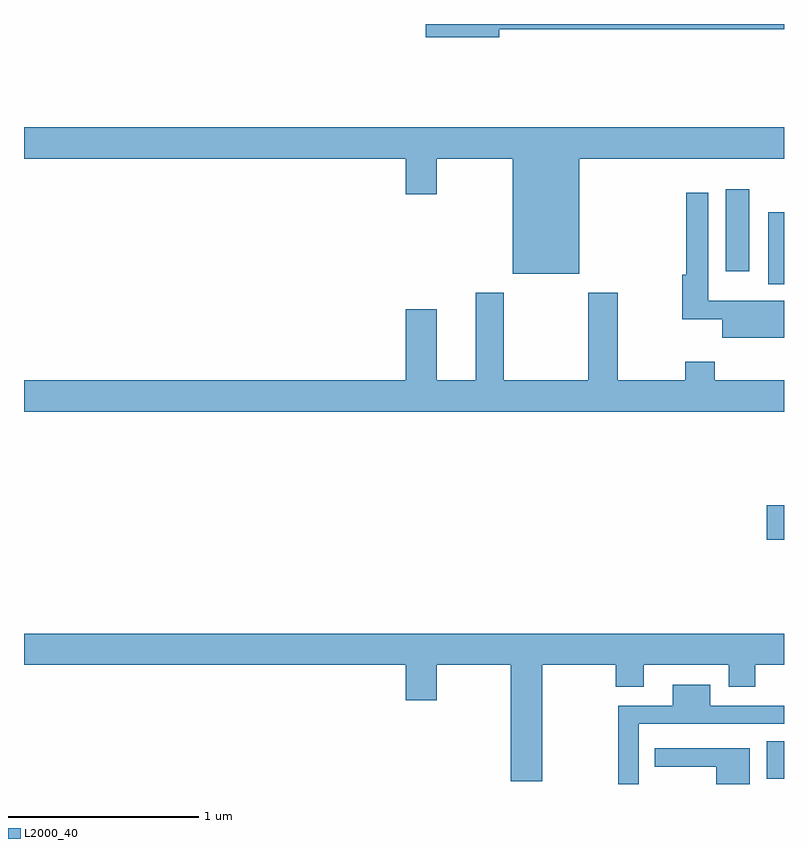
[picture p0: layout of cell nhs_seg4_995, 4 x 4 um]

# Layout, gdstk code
import gdstk
lib = gdstk.Library(unit=1e-6, precision=1e-09)
def R(c, l, rs):  # rectangles x0, y0, x1, y1
    for r in rs: c.add(gdstk.rectangle(r[:2], r[2:], *l))
def P(c, l, *ps):  # polygons
    for p in ps: c.add(gdstk.Polygon(p, *l))
L2000_40 = (2000, 40)

nhs_seg4_995 = lib.new_cell('nhs_seg4_995')
R(nhs_seg4_995, L2000_40, [(166.91,754.928,167,755.125), (166.908,756.185,167,756.368), (166.916,757.529,167,757.909), (166.694,757.599,166.816,758.029)])
P(nhs_seg4_995, L2000_40, [(165.502,758.872),(167,758.872),(167,758.9),(165.114,758.9),(165.114,758.83),(165.502,758.83)],
  [(165.922,758.192),(167,758.192),(167,758.356),(163,758.356),(163,758.192),(165.008,758.192),(165.008,758.004),(165.172,758.004),(165.172,758.192),(165.572,758.192),(165.572,757.586),(165.922,757.586)],
  [(167,757.443),(166.92,757.443),(166.92,757.444),(166.602,757.444),(166.602,758.011),(166.486,758.011),(166.486,757.579),(166.465,757.579),(166.465,757.345),(166.676,757.345),(166.676,757.25),(167,757.25)],
  [(167,757.024),(166.635,757.024),(166.635,757.123),(166.48,757.123),(166.48,757.024),(166.125,757.024),(166.125,757.486),(165.97,757.486),(165.97,757.024),(165.525,757.024),(165.525,757.486),(165.377,757.486),(165.377,757.024),(165.172,757.024),(165.172,757.399),(165.008,757.399),(165.008,757.024),(163,757.024),(163,756.86),(167,756.86)],
  [(165.727,755.528),(166.114,755.528),(166.114,755.411),(166.261,755.411),(166.261,755.528),(166.709,755.528),(166.709,755.411),(166.849,755.411),(166.849,755.528),(167,755.528),(167,755.692),(163,755.692),(163,755.528),(165.008,755.528),(165.008,755.34),(165.172,755.34),(165.172,755.528),(165.563,755.528),(165.563,754.914),(165.727,754.914)],
  [(166.236,755.217),(167,755.217),(167,755.313),(166.612,755.313),(166.612,755.422),(166.415,755.422),(166.415,755.313),(166.128,755.313),(166.128,754.9),(166.236,754.9)],
  [(166.819,755.088),(166.429,755.088),(166.429,755.087),(166.321,755.087),(166.321,754.991),(166.643,754.991),(166.643,754.9),(166.819,754.9)])

lib.write_gds('nhs_seg4_995.gds')
